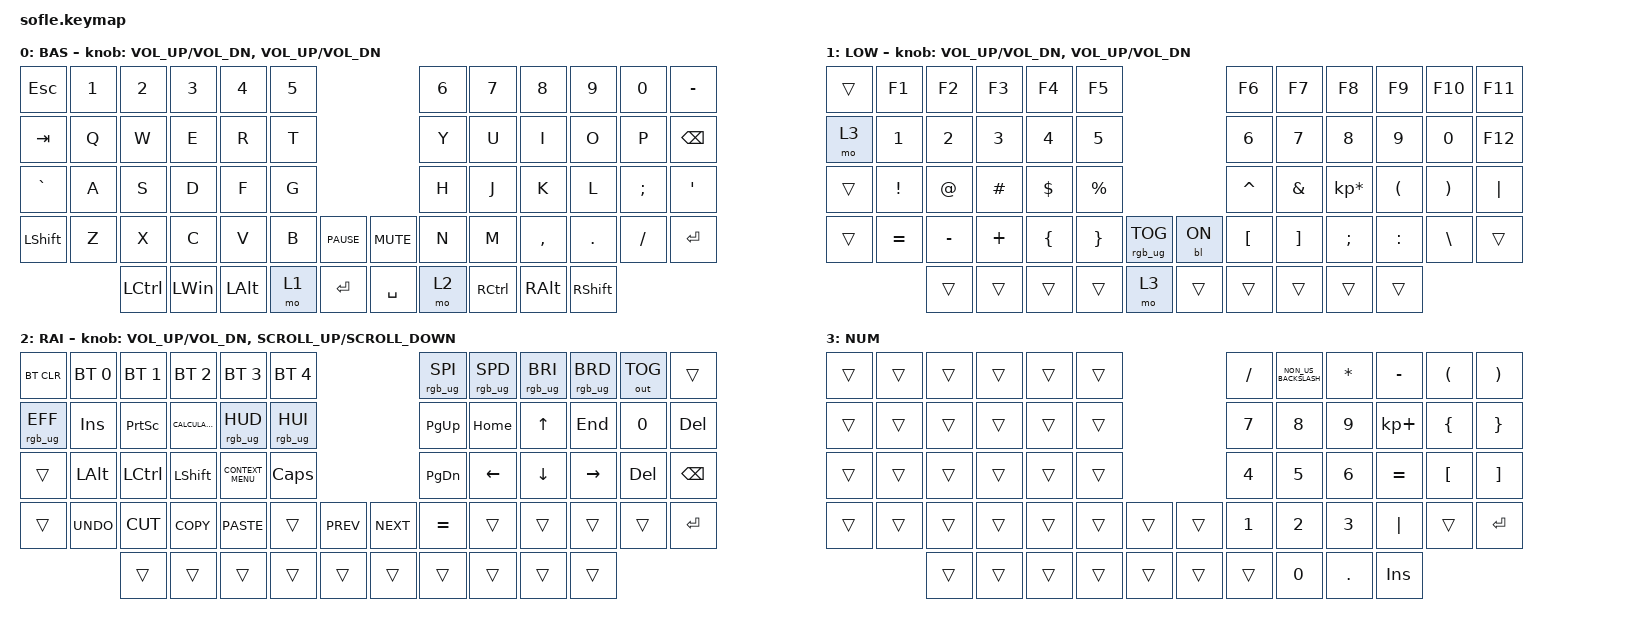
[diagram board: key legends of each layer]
/*
 * Copyright (c) 2020 The ZMK Contributors
 *
 * SPDX-License-Identifier: MIT
 */

#include <behaviors.dtsi>
#include <dt-bindings/zmk/backlight.h>
#include <dt-bindings/zmk/bt.h>
#include <dt-bindings/zmk/keys.h>
#include <dt-bindings/zmk/outputs.h>
#include <dt-bindings/zmk/rgb.h>

/ {
    combos {
        compatible = "zmk,combos";

        l2-ent {
            bindings = <&mo 3>;
            key-positions = <53 54>;
        };
    };

    keymap {
        compatible = "zmk,keymap";

        default_layer {
            display-name = "BAS";

            // ------------------------------------------------------------------------------------------------------------
            // |  `    |  1  |  2  |  3   |  4   |  5   |                   |  6   |  7    |  8    |  9   |   0   |       |
            // |  ESC  |  Q  |  W  |  E   |  R   |  T   |                   |  Y   |  U    |  I    |  O   |   P   | BKSPC |
            // |  TAB  |  A  |  S  |  D   |  F   |  G   |                   |  H   |  J    |  K    |  L   |   ;   |   '   |
            // | SHIFT |  Z  |  X  |  C   |  V   |  B   |  MUTE  |  |       |  N   |  M    |  ,    |  .   |   /   | SHIFT |
            //               | GUI | ALT  | CTRL | LOWER|  ENTER |  | SPACE | RAISE| CTRL  | ALT   | GUI  |

            bindings = <
&kp ESC    &kp N1  &kp N2     &kp N3        &kp N4        &kp N5                             &kp N6  &kp N7     &kp N8     &kp N9           &kp N0    &kp MINUS
&kp TAB    &kp Q   &kp W      &kp E         &kp R         &kp T                              &kp Y   &kp U      &kp I      &kp O            &kp P     &kp BSPC
&kp GRAVE  &kp A   &kp S      &kp D         &kp F         &kp G                              &kp H   &kp J      &kp K      &kp L            &kp SEMI  &kp SQT
&kp LSHFT  &kp Z   &kp X      &kp C         &kp V         &kp B   &kp C_PAUSE    &kp C_MUTE  &kp N   &kp M      &kp COMMA  &kp DOT          &kp FSLH  &kp ENTER
                   &kp LCTRL  &kp LEFT_WIN  &kp LEFT_ALT  &mo 1   &kp RET        &kp SPACE   &mo 2   &kp RCTRL  &kp RALT   &kp RIGHT_SHIFT
            >;

            sensor-bindings =
                <&inc_dec_kp C_VOL_UP C_VOL_DN>,
                <&inc_dec_kp C_VOL_UP C_VOL_DN>;
        };

        lower_layer {
            display-name = "LOW";

            // ------------------------------------------------------------------------------------------------------------
            // | `     |  F1 |  F2 |  F3  |  F4  |  F5  |                   |  F6  |  F7   |  F8   |  F9  |  F10  |  F11  |
            // | RAISE |   1 |   2 |   3  |   4  |   5  |                   |   6  |   7   |   8   |   9  |    0  |  F12  |
            // |       |  !  |  @  |  #   |  $   |  %   |                   |  ^   |  &    |  *    |  (   |   )   |   |   |
            // |       |  =  |  -  |  +   |  {   |  }   |        |  |       |  [   |  ]    |  ;    |  :   |   \   |       |
            //               |     |      |      |      |        |  |       |      |       |       |      |

            bindings = <
&trans  &kp F1     &kp F2     &kp F3    &kp F4    &kp F5                                   &kp F6     &kp F7    &kp F8           &kp F9     &kp F10   &kp F11
&mo 3   &kp N1     &kp N2     &kp N3    &kp N4    &kp N5                                   &kp N6     &kp N7    &kp N8           &kp N9     &kp N0    &kp F12
&trans  &kp EXCL   &kp AT     &kp HASH  &kp DLLR  &kp PRCNT                                &kp CARET  &kp AMPS  &kp KP_MULTIPLY  &kp LPAR   &kp RPAR  &kp PIPE
&trans  &kp EQUAL  &kp MINUS  &kp PLUS  &kp LBRC  &kp RBRC   &rgb_ug RGB_TOG    &bl BL_ON  &kp LBKT   &kp RBKT  &kp SEMI         &kp COLON  &kp BSLH  &trans
                   &trans     &trans    &trans    &trans     &mo 3              &trans     &trans     &trans    &trans           &trans
            >;

            sensor-bindings =
                <&inc_dec_kp C_VOL_UP C_VOL_DN>,
                <&inc_dec_kp C_VOL_UP K_VOL_DN>;
        };

        raise_layer {
            display-name = "RAI";

            // ------------------------------------------------------------------------------------------------------------
            // |BTCLR| BT1  | BT2  |  BT3  |  BT4  |  BT5 |                |      |      |       |      |       |       |
            // |     | INS  | PSCR | GUI   |       |      |                | PGUP |      |       |      |       |       |
            // |     | ALT  | CTRL | SHIFT |       | CAPS |                |  <-  |   v  |   ^   |  ->  |  DEL  | BKSPC |
            // |     | UNDO | CUT  | COPY  | PASTE |      |      |  |      |      |      |       |      |       |       |
            //              |      |       |       |      |      |  |      |      |      |       |      |

            bindings = <
&bt BT_CLR       &bt BT_SEL 0  &bt BT_SEL 1  &bt BT_SEL 2      &bt BT_SEL 3        &bt BT_SEL 4                               &rgb_ug RGB_SPI  &rgb_ug RGB_SPD  &rgb_ug RGB_BRI  &rgb_ug RGB_BRD  &out OUT_TOG  &trans
&rgb_ug RGB_EFF  &kp INS       &kp PSCRN     &kp K_CALCULATOR  &rgb_ug RGB_HUD     &rgb_ug RGB_HUI                            &kp PG_UP        &kp HOME         &kp UP_ARROW     &kp END          &kp N0        &kp DELETE
&trans           &kp LALT      &kp LCTRL     &kp LSHFT         &kp K_CONTEXT_MENU  &kp CLCK                                   &kp PAGE_DOWN    &kp LEFT         &kp DOWN         &kp RIGHT        &kp DEL       &kp BSPC
&trans           &kp K_UNDO    &kp K_CUT     &kp K_COPY        &kp K_PASTE         &trans           &kp C_PREV    &kp C_NEXT  &kp EQUAL        &trans           &trans           &trans           &trans        &kp ENTER
                               &trans        &trans            &trans              &trans           &trans        &trans      &trans           &trans           &trans           &trans
            >;

            sensor-bindings =
                <&inc_dec_kp C_VOL_UP C_VOL_DN>,
                <&inc_dec_kp K_SCROLL_UP K_SCROLL_DOWN>;
        };

        NUM {
            bindings = <
&trans  &trans  &trans  &trans  &trans  &trans                    &kp SLASH  &kp NON_US_BACKSLASH  &kp ASTERISK  &kp MINUS    &kp LEFT_PARENTHESIS  &kp RIGHT_PARENTHESIS
&trans  &trans  &trans  &trans  &trans  &trans                    &kp N7     &kp N8                &kp N9        &kp KP_PLUS  &kp LEFT_BRACE        &kp RIGHT_BRACE
&trans  &trans  &trans  &trans  &trans  &trans                    &kp N4     &kp N5                &kp N6        &kp EQUAL    &kp LEFT_BRACKET      &kp RIGHT_BRACKET
&trans  &trans  &trans  &trans  &trans  &trans  &trans    &trans  &kp N1     &kp N2                &kp N3        &kp PIPE     &trans                &kp ENTER
                &trans  &trans  &trans  &trans  &trans    &trans  &trans     &kp N0                &kp PERIOD    &kp INS
            >;

            label = "NUM";
        };
    };
};
